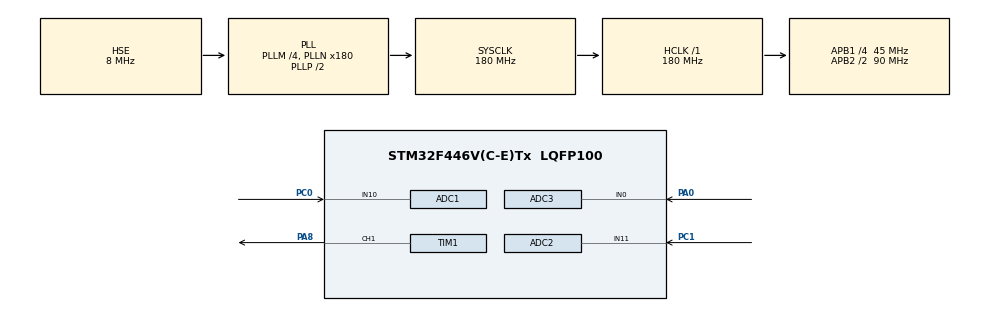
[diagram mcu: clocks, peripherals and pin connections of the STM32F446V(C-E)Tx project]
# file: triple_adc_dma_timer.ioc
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Mcu.Family=STM32F4
RCC.PLLSourceVirtual=RCC_PLLSOURCE_HSE
TIM1.OCPolarity_1=TIM_OCPOLARITY_LOW
PH0-OSC_IN.Signal=RCC_OSC_IN
Dma.ADC1.0.Instance=DMA2_Stream0
RCC.CortexFreq_Value=180000000
ADC2.Mode=ADC_TRIPLEMODE_REGSIMULT
ADC1.Rank-0\#ChannelRegularConversion=1
ADC2.Channel-0\#ChannelRegularConversion=ADC_CHANNEL_11
TIM1.RepetitionCounter=1
TIM1.OCFastMode_PWM-PWM\ Generation1\ CH1=TIM_OCFAST_ENABLE
PC0.Signal=ADCx_IN10
RCC.APB1CLKDivider=RCC_HCLK_DIV4
ADC3.Channel-0\#ChannelRegularConversion=ADC_CHANNEL_0
RCC.SYSCLKSource=RCC_SYSCLKSOURCE_PLLCLK
ProjectManager.StackSize=0x400
PA0-WKUP.Signal=ADCx_IN0
TIM1.AutoReloadPreload=TIM_AUTORELOAD_PRELOAD_ENABLE
Dma.ADC1.0.PeriphDataAlignment=DMA_PDATAALIGN_HALFWORD
ADC3.SamplingTime-0\#ChannelRegularConversion=ADC_SAMPLETIME_3CYCLES
SH.S_TIM1_CH1.0=TIM1_CH1,PWM Generation1 CH1
ProjectManager.TargetToolchain=STM32CubeIDE
Dma.ADC1.0.Mode=DMA_CIRCULAR
ADC1.Mode=ADC_TRIPLEMODE_REGSIMULT
RCC.HCLKFreq_Value=180000000
Dma.ADC1.0.Priority=DMA_PRIORITY_HIGH
RCC.APB2TimFreq_Value=180000000
Dma.ADC1.0.Direction=DMA_PERIPH_TO_MEMORY
NVIC.DMA2_Stream0_IRQn=true\:0\:0\:false\:false\:true\:false\:true
RCC.USBFreq_Value=180000000
Dma.ADC1.0.MemDataAlignment=DMA_MDATAALIGN_HALFWORD
RCC.AHBFreq_Value=180000000
PH0-OSC_IN.Mode=HSE-External-Oscillator
ADC1.Channel-0\#ChannelRegularConversion=ADC_CHANNEL_10
RCC.HSE_VALUE=8000000
board=custom
RCC.VCOOutputFreq_Value=360000000
RCC.APB2Freq_Value=90000000
SH.ADCx_IN11.0=ADC2_IN11,IN11
TIM1.Channel-PWM\ Generation1\ CH1=TIM_CHANNEL_1
ADC1.DMAAccessMode=ADC_DMAACCESSMODE_1
Dma.ADC1.0.PeriphInc=DMA_PINC_DISABLE
PH1-OSC_OUT.Signal=RCC_OSC_OUT
PA8.Signal=S_TIM1_CH1
SH.ADCx_IN0.0=ADC3_IN0,IN0
Mcu.Name=STM32F446V(C-E)Tx
VP_TIM1_VS_ClockSourceINT.Mode=Internal
ADC1.SamplingTime-0\#ChannelRegularConversion=ADC_SAMPLETIME_3CYCLES
ADC1.ExternalTrigConv=ADC_SOFTWARE_START
PH1-OSC_OUT.Mode=HSE-External-Oscillator
RCC.SYSCLKFreq_VALUE=180000000
Mcu.Package=LQFP100
ADC1.master=1
ADC2.NbrOfConversionFlag=1
ADC3.Rank-0\#ChannelRegularConversion=1
Dma.ADC1.0.MemInc=DMA_MINC_ENABLE
SH.ADCx_IN10.0=ADC1_IN10,IN10
ProjectManager.HeapSize=0x200
ADC2.SamplingTime-0\#ChannelRegularConversion=ADC_SAMPLETIME_3CYCLES
NVIC.PriorityGroup=NVIC_PRIORITYGROUP_4
ADC1.NbrOfConversionFlag=1
RCC.APB2CLKDivider=RCC_HCLK_DIV2
RCC.PLLM=4
RCC.PLLN=180
RCC.APB1TimFreq_Value=90000000
Dma.ADC1.0.FIFOMode=DMA_FIFOMODE_DISABLE
TIM1.Period=0x8CA
ADC2.Rank-0\#ChannelRegularConversion=1
Dma.Request0=ADC1
RCC.APB1Freq_Value=45000000
ADC3.NbrOfConversionFlag=1
ADC1.EOCSelection=ADC_EOC_SINGLE_CONV
ADC2.DMAAccessMode=ADC_DMAACCESSMODE_1
PC1.Signal=ADCx_IN11

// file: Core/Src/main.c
/* USER CODE BEGIN Header */
/**
  ******************************************************************************
  * @file           : main.c
  * @brief          : Main program body
  ******************************************************************************
  * @attention
  *
  * <h2><center>&copy; Copyright (c) 2021 STMicroelectronics.
  * All rights reserved.</center></h2>
  *
  * This software component is licensed by ST under BSD 3-Clause license,
  * the "License"; You may not use this file except in compliance with the
  * License. You may obtain a copy of the License at:
  *                        opensource.org/licenses/BSD-3-Clause
  *
  ******************************************************************************
  */
/* USER CODE END Header */
#include "main.h"
#include "adc.h"
#include "dma.h"
#include "tim.h"
#include "gpio.h"

/* USER CODE BEGIN PV */
uint16_t adc_data[3];
volatile uint8_t adc_data_ready_flag;
/* USER CODE END PV */

void SystemClock_Config(void);

int main(void)
{

  /* MCU Configuration--------------------------------------------------------*/

  /* Reset of all peripherals, Initializes the Flash interface and the Systick. */
  HAL_Init();

  /* Configure the system clock */
  SystemClock_Config();

  /* Initialize all configured peripherals */
  MX_GPIO_Init();
  MX_DMA_Init();
  MX_ADC1_Init();
  MX_ADC2_Init();
  MX_ADC3_Init();
  MX_TIM1_Init();
  /* USER CODE BEGIN 2 */
  //Enable ADC and DMA
  if(HAL_ADC_Start_IT(&hadc1)!= HAL_OK)
  {
	  Error_Handler();
  }
  if(HAL_ADC_Start(&hadc2)!= HAL_OK)
  {
	  Error_Handler();
  }
  if(HAL_ADC_Start(&hadc3)!= HAL_OK)
  {
	  Error_Handler();
  }
  HAL_Delay(200);
  if(HAL_DMA_Start_IT(&hdma_adc1, (uint32_t)&ADC_COMMON_REGISTER(hadc1)->CDR, (uint32_t)adc_data, 3)!= HAL_OK)	//TODO: interrupt is not necessery here
  {
	  Error_Handler();
  }

  for(int i=0; i<5; i++)
  {
		adc_data_ready_flag = 0;        // clear flag
		HAL_ADC_Start(&hadc1);

		while (!adc_data_ready_flag); // wait for new adc data
		// First time HAL_ADC_Start(&hadc1); is called
		// data successfully received and flag updated
		// next times hangs in while loop

  }

  /* USER CODE END 2 */

  /* Infinite loop */
  while (1)
  {

    /* USER CODE BEGIN 3 */
	  HAL_Delay(100);
  }
  /* USER CODE END 3 */
}

void SystemClock_Config(void)
{
  RCC_OscInitTypeDef RCC_OscInitStruct = {0};
  RCC_ClkInitTypeDef RCC_ClkInitStruct = {0};

  /** Configure the main internal regulator output voltage
  */
  __HAL_RCC_PWR_CLK_ENABLE();
  __HAL_PWR_VOLTAGESCALING_CONFIG(PWR_REGULATOR_VOLTAGE_SCALE1);
  /** Initializes the RCC Oscillators according to the specified parameters
  * in the RCC_OscInitTypeDef structure.
  */
  RCC_OscInitStruct.OscillatorType = RCC_OSCILLATORTYPE_HSE;
  RCC_OscInitStruct.HSEState = RCC_HSE_ON;
  RCC_OscInitStruct.PLL.PLLState = RCC_PLL_ON;
  RCC_OscInitStruct.PLL.PLLSource = RCC_PLLSOURCE_HSE;
  RCC_OscInitStruct.PLL.PLLM = 4;
  RCC_OscInitStruct.PLL.PLLN = 180;
  RCC_OscInitStruct.PLL.PLLP = RCC_PLLP_DIV2;
  RCC_OscInitStruct.PLL.PLLQ = 2;
  RCC_OscInitStruct.PLL.PLLR = 2;
  if (HAL_RCC_OscConfig(&RCC_OscInitStruct) != HAL_OK)
  {
    Error_Handler();
  }
  /** Activate the Over-Drive mode
  */
  if (HAL_PWREx_EnableOverDrive() != HAL_OK)
  {
    Error_Handler();
  }
  /** Initializes the CPU, AHB and APB buses clocks
  */
  RCC_ClkInitStruct.ClockType = RCC_CLOCKTYPE_HCLK|RCC_CLOCKTYPE_SYSCLK
                              |RCC_CLOCKTYPE_PCLK1|RCC_CLOCKTYPE_PCLK2;
  RCC_ClkInitStruct.SYSCLKSource = RCC_SYSCLKSOURCE_PLLCLK;
  RCC_ClkInitStruct.AHBCLKDivider = RCC_SYSCLK_DIV1;
  RCC_ClkInitStruct.APB1CLKDivider = RCC_HCLK_DIV4;
  RCC_ClkInitStruct.APB2CLKDivider = RCC_HCLK_DIV2;

  if (HAL_RCC_ClockConfig(&RCC_ClkInitStruct, FLASH_LATENCY_5) != HAL_OK)
  {
    Error_Handler();
  }
}

void Error_Handler(void)
{
  __disable_irq();
  while (1)
  {
  }
}

/************************ (C) COPYRIGHT STMicroelectronics *****END OF FILE****/
